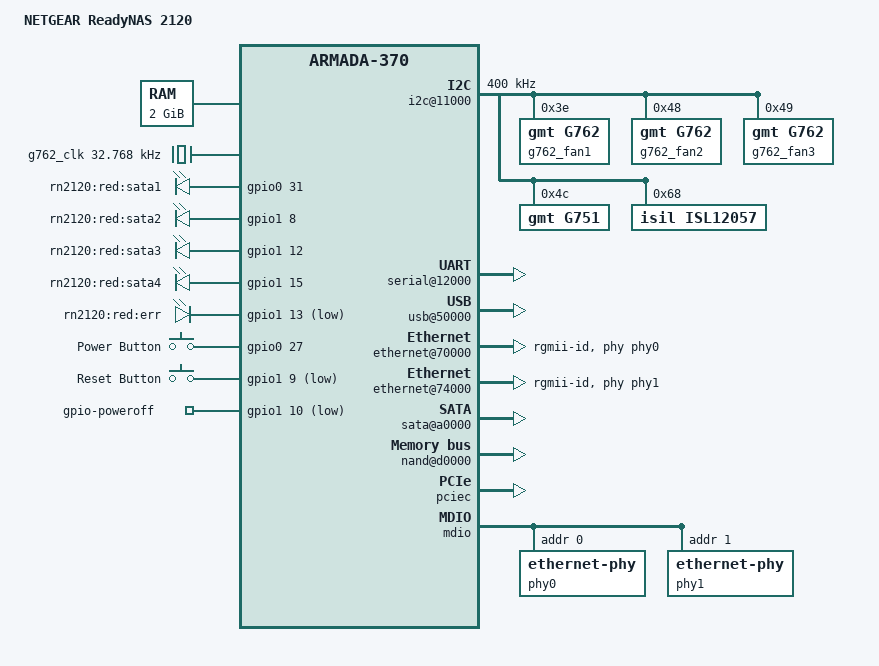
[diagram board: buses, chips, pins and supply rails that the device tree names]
/*
 * Device Tree file for NETGEAR ReadyNAS 2120
 *
 * Copyright (C) 2013, Arnaud EBALARD <arno@natisbad.org>
 *
 * This file is dual-licensed: you can use it either under the terms
 * of the GPL or the X11 license, at your option. Note that this dual
 * licensing only applies to this file, and not this project as a
 * whole.
 *
 *  a) This file is free software; you can redistribute it and/or
 *     modify it under the terms of the GNU General Public License as
 *     published by the Free Software Foundation; either version 2 of the
 *     License, or (at your option) any later version.
 *
 *     This file is distributed in the hope that it will be useful
 *     but WITHOUT ANY WARRANTY; without even the implied warranty of
 *     MERCHANTABILITY or FITNESS FOR A PARTICULAR PURPOSE.  See the
 *     GNU General Public License for more details.
 *
 * Or, alternatively
 *
 *  b) Permission is hereby granted, free of charge, to any person
 *     obtaining a copy of this software and associated documentation
 *     files (the "Software"), to deal in the Software without
 *     restriction, including without limitation the rights to use
 *     copy, modify, merge, publish, distribute, sublicense, and/or
 *     sell copies of the Software, and to permit persons to whom the
 *     Software is furnished to do so, subject to the following
 *     conditions:
 *
 *     The above copyright notice and this permission notice shall be
 *     included in all copies or substantial portions of the Software.
 *
 *     THE SOFTWARE IS PROVIDED , WITHOUT WARRANTY OF ANY KIND
 *     EXPRESS OR IMPLIED, INCLUDING BUT NOT LIMITED TO THE WARRANTIES
 *     OF MERCHANTABILITY, FITNESS FOR A PARTICULAR PURPOSE AND
 *     NONINFRINGEMENT. IN NO EVENT SHALL THE AUTHORS OR COPYRIGHT
 *     HOLDERS BE LIABLE FOR ANY CLAIM, DAMAGES OR OTHER LIABILITY
 *     WHETHER IN AN ACTION OF CONTRACT, TORT OR OTHERWISE, ARISING
 *     FROM, OUT OF OR IN CONNECTION WITH THE SOFTWARE OR THE USE OR
 *     OTHER DEALINGS IN THE SOFTWARE.
 */

/dts-v1/;

#include <dt-bindings/input/input.h>
#include <dt-bindings/gpio/gpio.h>
#include "armada-xp-mv78230.dtsi"

/ {
	model = "NETGEAR ReadyNAS 2120";
	compatible = "netgear,readynas-2120", "marvell,armadaxp-mv78230", "marvell,armadaxp", "marvell,armada-370-xp";

	chosen {
		stdout-path = "serial0:115200n8";
	};

	memory@0 {
		device_type = "memory";
		reg = <0 0x00000000 0 0x80000000>; /* 2GB */
	};

	soc {
		ranges = <MBUS_ID(0xf0, 0x01) 0 0 0xd0000000 0x100000
			  MBUS_ID(0x01, 0x1d) 0 0 0xfff00000 0x100000
			  MBUS_ID(0x09, 0x09) 0 0 0xf1100000 0x10000
			  MBUS_ID(0x09, 0x05) 0 0 0xf1110000 0x10000>;

		internal-regs {

			/* RTC is provided by Intersil ISL12057 I2C RTC chip */
			rtc@10300 {
				status = "disabled";
			};

			i2c@11000 {
				clock-frequency = <400000>;
				status = "okay";

				/* Controller for rear fan #1 of 3 (Protechnic
				 * MGT4012XB-O20, 8000RPM) near eSATA port */
				g762_fan1: g762@3e {
					compatible = "gmt,g762";
					reg = <0x3e>;
					clocks = <&g762_clk>; /* input clock */
					fan_gear_mode = <0>;
					fan_startv = <1>;
					pwm_polarity = <0>;
				};

				/*  Controller for rear (center) fan #2 of 3 */
				g762_fan2: g762@48 {
					compatible = "gmt,g762";
					reg = <0x48>;
					clocks = <&g762_clk>; /* input clock */
					fan_gear_mode = <0>;
					fan_startv = <1>;
					pwm_polarity = <0>;
				};

				/*  Controller for rear fan #3 of 3 */
				g762_fan3: g762@49 {
					compatible = "gmt,g762";
					reg = <0x49>;
					clocks = <&g762_clk>; /* input clock */
					fan_gear_mode = <0>;
					fan_startv = <1>;
					pwm_polarity = <0>;
				};

				/* Temperature sensor */
				g751: g751@4c {
					compatible = "gmt,g751";
					reg = <0x4c>;
				};

				isl12057: isl12057@68 {
					compatible = "isil,isl12057";
					reg = <0x68>;
					wakeup-source;
				};
			};

			serial@12000 {
				status = "okay";
			};

			/* Front USB 2.0 port */
			usb@50000 {
				status = "okay";
			};

			ethernet@70000 {
				pinctrl-0 = <&ge0_rgmii_pins>;
				pinctrl-names = "default";

				status = "okay";
				phy = <&phy0>;
				phy-mode = "rgmii-id";
			};

			ethernet@74000 {
				pinctrl-0 = <&ge1_rgmii_pins>;
				pinctrl-names = "default";

				status = "okay";
				phy = <&phy1>;
				phy-mode = "rgmii-id";
			};

			/* Two rear eSATA ports */
			sata@a0000 {
				nr-ports = <2>;
				status = "okay";
			};

			nand@d0000 {
				status = "okay";
				num-cs = <1>;
				marvell,nand-keep-config;
				marvell,nand-enable-arbiter;
				nand-on-flash-bbt;

				/* Use Hardware BCH ECC */
				nand-ecc-strength = <4>;
				nand-ecc-step-size = <512>;

				partition@0 {
					label = "u-boot";
					reg = <0x0000000 0x180000>;  /* 1.5MB */
					read-only;
				};

				partition@180000 {
					label = "u-boot-env";
					reg = <0x180000 0x20000>;    /* 128KB */
					read-only;
				};

				partition@200000 {
					label = "uImage";
					reg = <0x0200000 0x600000>;    /* 6MB */
				};

				partition@800000 {
					label = "minirootfs";
					reg = <0x0800000 0x400000>;    /* 4MB */
				};

				/* Last MB is for the BBT, i.e. not writable */
				partition@c00000 {
					label = "ubifs";
					reg = <0x0c00000 0x7400000>; /* 116MB */
				};
			};
		};
	};

	clocks {
	       g762_clk: g762-oscillator {
			 compatible = "fixed-clock";
			 #clock-cells = <0>;
			 clock-frequency = <32768>;
	       };
	};

	gpio-leds {
		compatible = "gpio-leds";
		pinctrl-0 = <&sata1_led_pin &sata2_led_pin &err_led_pin
			     &sata3_led_pin &sata4_led_pin>;
		pinctrl-names = "default";

		red-sata1-led {
			label = "rn2120:red:sata1";
			gpios = <&gpio0 31 GPIO_ACTIVE_HIGH>;
			default-state = "off";
		};

		red-sata2-led {
			label = "rn2120:red:sata2";
			gpios = <&gpio1 8 GPIO_ACTIVE_HIGH>;
			default-state = "off";
		};

		red-sata3-led {
			label = "rn2120:red:sata3";
			gpios = <&gpio1 12 GPIO_ACTIVE_HIGH>;
			default-state = "off";
		};

		red-sata4-led {
			label = "rn2120:red:sata4";
			gpios = <&gpio1 15 GPIO_ACTIVE_HIGH>;
			default-state = "off";
		};

		red-err-led {
			label = "rn2120:red:err";
			gpios = <&gpio1 13 GPIO_ACTIVE_LOW>;
			default-state = "off";
		};
	};

	gpio-keys {
		compatible = "gpio-keys";
		pinctrl-0 = <&power_button_pin &reset_button_pin>;
		pinctrl-names = "default";

		power-button {
			label = "Power Button";
			linux,code = <KEY_POWER>;
			gpios = <&gpio0 27 GPIO_ACTIVE_HIGH>;
		};

		reset-button {
			label = "Reset Button";
			linux,code = <KEY_RESTART>;
			gpios = <&gpio1 9 GPIO_ACTIVE_LOW>;
		};
	};

	gpio-poweroff {
		compatible = "gpio-poweroff";
		pinctrl-0 = <&poweroff>;
		pinctrl-names = "default";
		gpios = <&gpio1 10 GPIO_ACTIVE_LOW>;
	};
};

&pciec {
	status = "okay";

	/* Connected to first Marvell 88SE9170 SATA controller */
	pcie@1,0 {
		/* Port 0, Lane 0 */
		status = "okay";
	};

	/* Connected to second Marvell 88SE9170 SATA controller */
	pcie@2,0 {
		/* Port 0, Lane 1 */
		status = "okay";
	};

	/* Connected to Fresco Logic FL1009 USB 3.0 controller */
	pcie@5,0 {
		/* Port 1, Lane 0 */
		status = "okay";
	};
};

&mdio {
	phy0: ethernet-phy@0 { /* Marvell 88E1318 */
		reg = <0>;
	};

	phy1: ethernet-phy@1 { /* Marvell 88E1318 */
		reg = <1>;
	};
};


&pinctrl {
	poweroff: poweroff {
		marvell,pins = "mpp42";
		marvell,function = "gpio";
	};

	power_button_pin: power-button-pin {
		marvell,pins = "mpp27";
		marvell,function = "gpio";
	};

	reset_button_pin: reset-button-pin {
		marvell,pins = "mpp41";
		marvell,function = "gpio";
	};

	sata1_led_pin: sata1-led-pin {
		marvell,pins = "mpp31";
		marvell,function = "gpio";
	};

	sata2_led_pin: sata2-led-pin {
		marvell,pins = "mpp40";
		marvell,function = "gpio";
	};

	sata3_led_pin: sata3-led-pin {
		marvell,pins = "mpp44";
		marvell,function = "gpio";
	};

	sata4_led_pin: sata4-led-pin {
		marvell,pins = "mpp47";
		marvell,function = "gpio";
	};

	sata1_power_pin: sata1-power-pin {
		marvell,pins = "mpp24";
		marvell,function = "gpio";
	};

	sata2_power_pin: sata2-power-pin {
		marvell,pins = "mpp25";
		marvell,function = "gpio";
	};

	sata3_power_pin: sata3-power-pin {
		marvell,pins = "mpp26";
		marvell,function = "gpio";
	};

	sata4_power_pin: sata4-power-pin {
		marvell,pins = "mpp28";
		marvell,function = "gpio";
	};

	sata1_pres_pin: sata1-pres-pin {
		marvell,pins = "mpp32";
		marvell,function = "gpio";
	};

	sata2_pres_pin: sata2-pres-pin {
		marvell,pins = "mpp33";
		marvell,function = "gpio";
	};

	sata3_pres_pin: sata3-pres-pin {
		marvell,pins = "mpp34";
		marvell,function = "gpio";
	};

	sata4_pres_pin: sata4-pres-pin {
		marvell,pins = "mpp35";
		marvell,function = "gpio";
	};

	err_led_pin: err-led-pin {
		marvell,pins = "mpp45";
		marvell,function = "gpio";
	};
};
